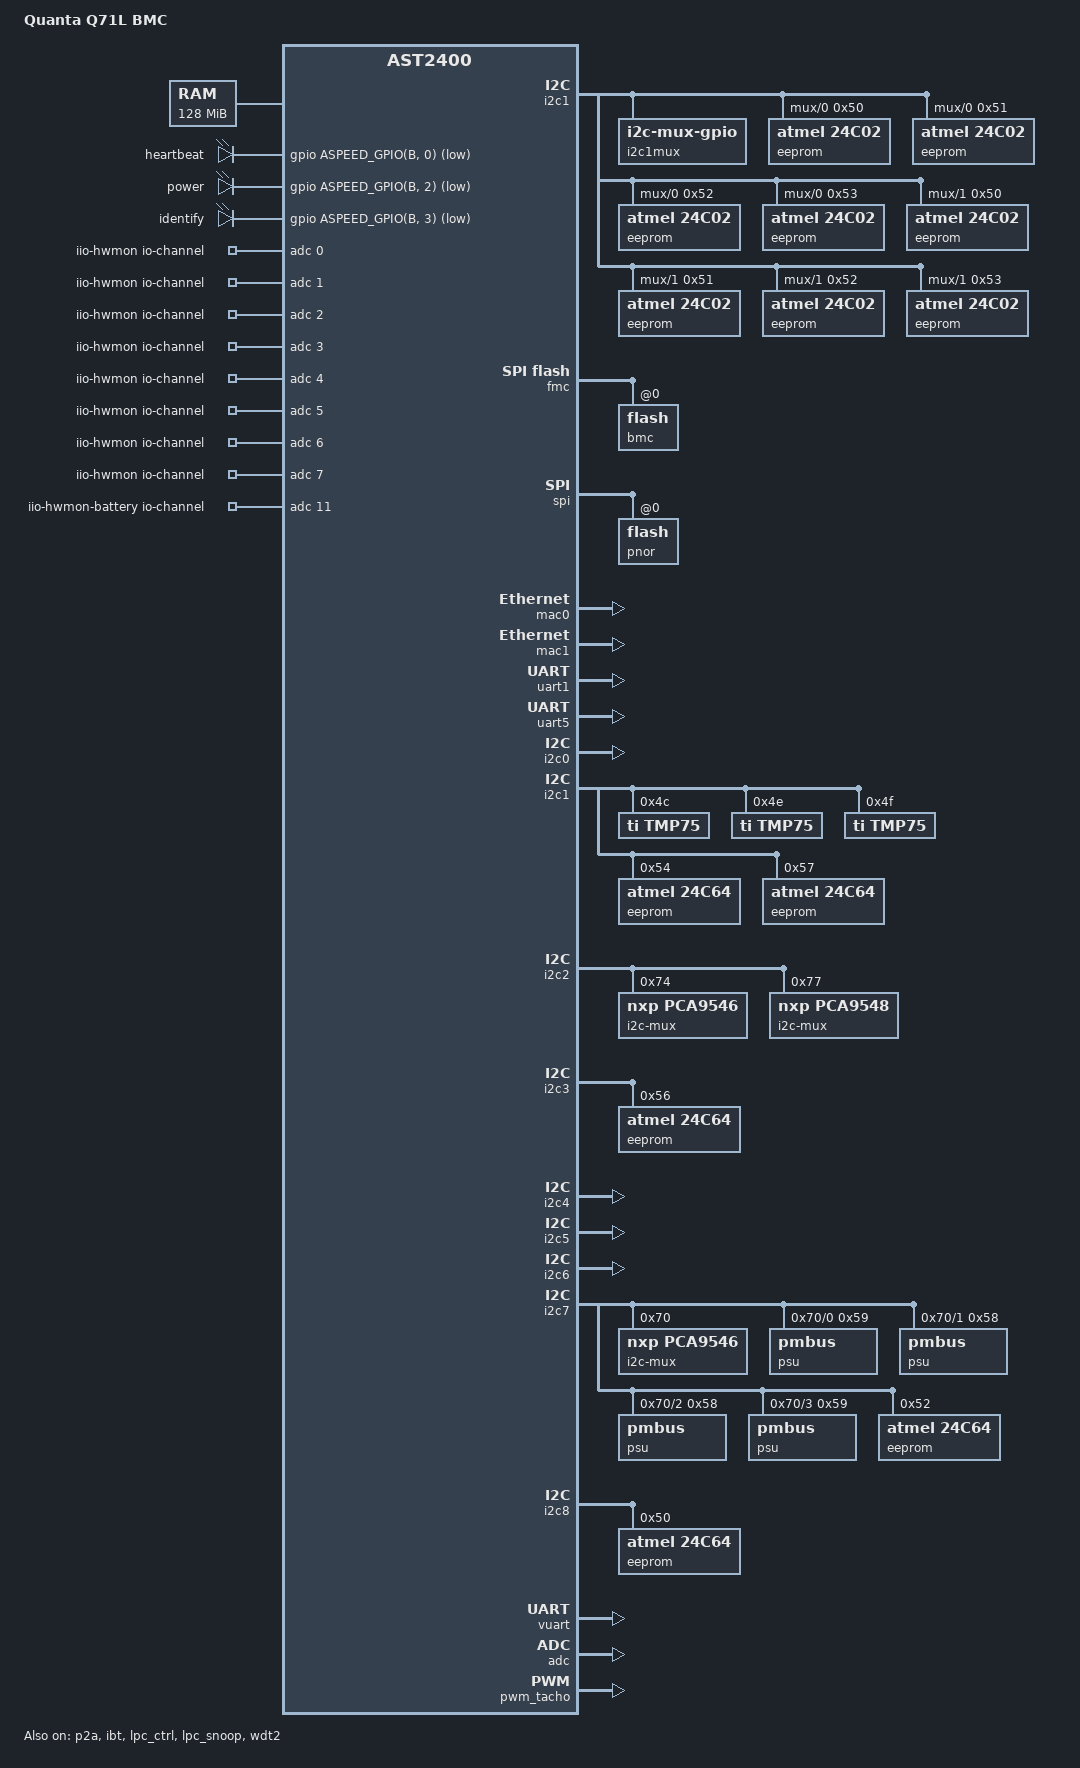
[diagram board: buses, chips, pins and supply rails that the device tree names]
// SPDX-License-Identifier: GPL-2.0
/dts-v1/;
#include "aspeed-g4.dtsi"
#include <dt-bindings/gpio/aspeed-gpio.h>

/ {
	model = "Quanta Q71L BMC";
	compatible = "quanta,q71l-bmc", "aspeed,ast2400";

	aliases {
		i2c14 = &i2c_pcie2;
		i2c15 = &i2c_pcie3;
		i2c16 = &i2c_pcie6;
		i2c17 = &i2c_pcie7;
		i2c18 = &i2c_pcie1;
		i2c19 = &i2c_pcie4;
		i2c20 = &i2c_pcie5;
		i2c21 = &i2c_pcie8;
		i2c22 = &i2c_pcie9;
		i2c23 = &i2c_pcie10;
		i2c24 = &i2c_ssd1;
		i2c25 = &i2c_ssd2;
		i2c26 = &i2c_psu4;
		i2c27 = &i2c_psu1;
		i2c28 = &i2c_psu3;
		i2c29 = &i2c_psu2;
	};

	chosen {
		stdout-path = &uart5;
		bootargs = "console=ttyS4,115200 earlycon";
	};

	memory@40000000 {
		reg = <0x40000000 0x8000000>;
	};

	reserved-memory {
		#address-cells = <1>;
		#size-cells = <1>;
		ranges;

		vga_memory: framebuffer@47800000 {
			no-map;
			reg = <0x47800000 0x00800000>; /* 8MB */
		};
	};

	leds {
		compatible = "gpio-leds";

		heartbeat {
			gpios = <&gpio ASPEED_GPIO(B, 0) GPIO_ACTIVE_LOW>;
		};

		power {
			gpios = <&gpio ASPEED_GPIO(B, 2) GPIO_ACTIVE_LOW>;
		};

		identify {
			gpios = <&gpio ASPEED_GPIO(B, 3) GPIO_ACTIVE_LOW>;
		};
	};

	iio-hwmon {
		compatible = "iio-hwmon";
		io-channels = <&adc 0>, <&adc 1>, <&adc 2>, <&adc 3>,
			<&adc 4>, <&adc 5>, <&adc 6>, <&adc 7>,
			<&adc 8>, <&adc 9>, <&adc 10>;
	};

	iio-hwmon-battery {
		compatible = "iio-hwmon";
		io-channels = <&adc 11>;
	};

	i2c1mux: i2cmux {
		compatible = "i2c-mux-gpio";
		#address-cells = <1>;
		#size-cells = <0>;

		/* mux-gpios = <&sgpio 10 GPIO_ACTIVE_HIGH> */
		i2c-parent = <&i2c1>;
	};
};

&fmc {
	status = "okay";
	flash@0 {
		status = "okay";
		label = "bmc";
		m25p,fast-read;
#include "openbmc-flash-layout.dtsi"
	};
};

&spi {
	status = "okay";
	pinctrl-names = "default";
	pinctrl-0 = <&pinctrl_spi1_default>;

	flash@0 {
		status = "okay";
		m25p,fast-read;
		label = "pnor";
	};
};

&pinctrl {
	pinctrl-names = "default";
	pinctrl-0 = <&pinctrl_vgahs_default &pinctrl_vgavs_default
			&pinctrl_ddcclk_default &pinctrl_ddcdat_default>;
};

&p2a {
	status = "okay";
	memory-region = <&vga_memory>;
};

&ibt {
	status = "okay";
};

&lpc_ctrl {
	status = "okay";
};

&lpc_snoop {
	status = "okay";
	snoop-ports = <0x80>;
};

&mac0 {
	status = "okay";
	pinctrl-names = "default";
	pinctrl-0 = <&pinctrl_rmii1_default>;
	use-ncsi;
};

&mac1 {
	status = "okay";
	pinctrl-names = "default";
	pinctrl-0 = <&pinctrl_rgmii2_default &pinctrl_mdio2_default>;
};

&uart1 {
	status = "okay";
};

&uart5 {
	status = "okay";
};

&i2c0 {
	status = "okay";
};

&i2c1 {
	status = "okay";

	/* temp2 inlet */
	tmp75@4c {
		compatible = "ti,tmp75";
		reg = <0x4c>;
	};

	/* temp3 */
	tmp75@4e {
		compatible = "ti,tmp75";
		reg = <0x4e>;
	};

	/* temp1 */
	tmp75@4f {
		compatible = "ti,tmp75";
		reg = <0x4f>;
	};

	/* Baseboard FRU */
	eeprom@54 {
		compatible = "atmel,24c64";
		reg = <0x54>;
	};

	/* FP FRU */
	eeprom@57 {
		compatible = "atmel,24c64";
		reg = <0x57>;
	};
};

&i2c2 {
	status = "okay";

	/* 0: PCIe Slot 2,
	 *    Slot 3,
	 *    Slot 6,
	 *    Slot 7
	 */
	i2c-mux@74 {
		compatible = "nxp,pca9546";
		reg = <0x74>;
		#address-cells = <1>;
		#size-cells = <0>;
		i2c-mux-idle-disconnect;  /* may use mux@77 next. */

		i2c_pcie2: i2c@0 {
			#address-cells = <1>;
			#size-cells = <0>;
			reg = <0>;
		};

		i2c_pcie3: i2c@1 {
			#address-cells = <1>;
			#size-cells = <0>;
			reg = <1>;
		};

		i2c_pcie6: i2c@2 {
			#address-cells = <1>;
			#size-cells = <0>;
			reg = <2>;
		};

		i2c_pcie7: i2c@3 {
			#address-cells = <1>;
			#size-cells = <0>;
			reg = <3>;
		};
	};

	/* 0: PCIe Slot 1,
	 *    Slot 4,
	 *    Slot 5,
	 *    Slot 8,
	 *    Slot 9,
	 *    Slot 10,
	 *    SSD 1,
	 *    SSD 2
	 */
	i2c-mux@77 {
		compatible = "nxp,pca9548";
		#address-cells = <1>;
		#size-cells = <0>;
		reg = <0x77>;
		i2c-mux-idle-disconnect;  /* may use mux@74 next. */

		i2c_pcie1: i2c@0 {
			#address-cells = <1>;
			#size-cells = <0>;
			reg = <0>;
		};

		i2c_pcie4: i2c@1 {
			#address-cells = <1>;
			#size-cells = <0>;
			reg = <1>;
		};

		i2c_pcie5: i2c@2 {
			#address-cells = <1>;
			#size-cells = <0>;
			reg = <2>;
		};

		i2c_pcie8: i2c@3 {
			#address-cells = <1>;
			#size-cells = <0>;
			reg = <3>;
		};

		i2c_pcie9: i2c@4 {
			#address-cells = <1>;
			#size-cells = <0>;
			reg = <4>;
		};

		i2c_pcie10: i2c@5 {
			#address-cells = <1>;
			#size-cells = <0>;
			reg = <5>;
		};

		i2c_ssd1: i2c@6 {
			#address-cells = <1>;
			#size-cells = <0>;
			reg = <6>;
		};

		i2c_ssd2: i2c@7 {
			#address-cells = <1>;
			#size-cells = <0>;
			reg = <7>;
		};
	};
};

&i2c3 {
	status = "okay";

	/* BIOS FRU */
	eeprom@56 {
		compatible = "atmel,24c64";
		reg = <0x56>;
	};
};

&i2c4 {
	status = "okay";
};

&i2c5 {
	status = "okay";
};

&i2c6 {
	status = "okay";
};

&i2c7 {
	status = "okay";

	/* 0: PSU4
	 *    PSU1
	 *    PSU3
	 *    PSU2
	 */
	i2c-mux@70 {
		compatible = "nxp,pca9546";
		reg = <0x70>;
		#address-cells = <1>;
		#size-cells = <0>;

		i2c_psu4: i2c@0 {
			#address-cells = <1>;
			#size-cells = <0>;
			reg = <0>;

			psu@59 {
				compatible = "pmbus";
				reg = <0x59>;
			};
		};

		i2c_psu1: i2c@1 {
			#address-cells = <1>;
			#size-cells = <0>;
			reg = <1>;

			psu@58 {
				compatible = "pmbus";
				reg = <0x58>;
			};
		};

		i2c_psu3: i2c@2 {
			#address-cells = <1>;
			#size-cells = <0>;
			reg = <2>;

			psu@58 {
				compatible = "pmbus";
				reg = <0x58>;
			};
		};

		i2c_psu2: i2c@3 {
			#address-cells = <1>;
			#size-cells = <0>;
			reg = <3>;

			psu@59 {
				compatible = "pmbus";
				reg = <0x59>;
			};
		};
	};

	/* PDB FRU */
	eeprom@52 {
		compatible = "atmel,24c64";
		reg = <0x52>;
	};
};

&i2c8 {
	status = "okay";

	/* BMC FRU */
	eeprom@50 {
		compatible = "atmel,24c64";
		reg = <0x50>;
	};
};

&vuart {
	status = "okay";
};

&wdt2 {
	status = "okay";
};

&adc {
	status = "okay";
};

&pwm_tacho {
	status = "okay";

	pinctrl-names = "default";
	pinctrl-0 = <&pinctrl_pwm0_default
		&pinctrl_pwm1_default
		&pinctrl_pwm2_default
		&pinctrl_pwm3_default>;

	fan@0 {
		reg = <0x00>;
		aspeed,fan-tach-ch = /bits/ 8 <0x00>;
	};

	fan@1 {
		reg = <0x01>;
		aspeed,fan-tach-ch = /bits/ 8 <0x01>;
	};

	fan@2 {
		reg = <0x02>;
		aspeed,fan-tach-ch = /bits/ 8 <0x02>;
	};

	fan@3 {
		reg = <0x03>;
		aspeed,fan-tach-ch = /bits/ 8 <0x03>;
	};

	fan@4 {
		reg = <0x00>;
		aspeed,fan-tach-ch = /bits/ 8 <0x04>;
	};

	fan@5 {
		reg = <0x01>;
		aspeed,fan-tach-ch = /bits/ 8 <0x05>;
	};

	fan@6 {
		reg = <0x02>;
		aspeed,fan-tach-ch = /bits/ 8 <0x06>;
	};

	fan@7 {
		reg = <0x03>;
		aspeed,fan-tach-ch = /bits/ 8 <0x07>;
	};
};

&i2c1mux {
	i2c@0 {
		reg = <0>;
		#address-cells = <1>;
		#size-cells = <0>;

		/* Memory Riser 1 FRU */
		eeprom@50 {
			compatible = "atmel,24c02";
			reg = <0x50>;
		};

		/* Memory Riser 2 FRU */
		eeprom@51 {
			compatible = "atmel,24c02";
			reg = <0x51>;
		};

		/* Memory Riser 3 FRU */
		eeprom@52 {
			compatible = "atmel,24c02";
			reg = <0x52>;
		};

		/* Memory Riser 4 FRU */
		eeprom@53 {
			compatible = "atmel,24c02";
			reg = <0x53>;
		};
	};

	i2c@1 {
		reg = <1>;
		#address-cells = <1>;
		#size-cells = <0>;

		/* Memory Riser 5 FRU */
		eeprom@50 {
			compatible = "atmel,24c02";
			reg = <0x50>;
		};

		/* Memory Riser 6 FRU */
		eeprom@51 {
			compatible = "atmel,24c02";
			reg = <0x51>;
		};

		/* Memory Riser 7 FRU */
		eeprom@52 {
			compatible = "atmel,24c02";
			reg = <0x52>;
		};

		/* Memory Riser 8 FRU */
		eeprom@53 {
			compatible = "atmel,24c02";
			reg = <0x53>;
		};
	};
};
